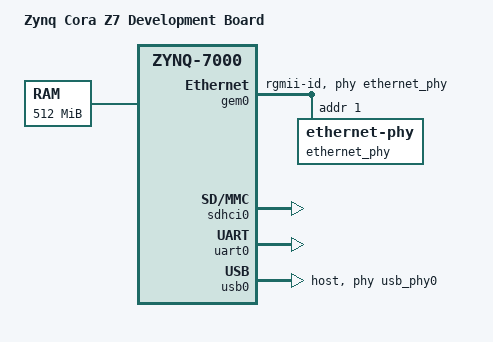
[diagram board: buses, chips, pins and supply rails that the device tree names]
/include/ "system-conf.dtsi"

/ {
   model = "Zynq Cora Z7 Development Board";
   compatible = "digilent,zynq-coraz7", "xlnx,zynq-7000";

   aliases {
      ethernet0 = &gem0;
      serial0 = &uart0;
      mmc0 = &sdhci0;
   };

   memory@0 {
      device_type = "memory";
      reg = <0x0 0x20000000>;
   };

   chosen {
      bootargs = "console=ttyPS0,115200 root=/dev/mmcblk0p2 rw rootwait earlyprintk uio_pdrv_genirq.of_id=generic-uio";
      stdout-path = "serial0:115200n8";
   };

   usb_phy0: phy0@e0002000 {
      compatible = "ulpi-phy";
      #phy-cells = <0>;
      reg = <0xe0002000 0x1000>;
      view-port = <0x0170>;
      drv-vbus;
   };
};

&clkc {
   ps-clk-frequency = <50000000>;
};

&gem0 {
   status = "okay";
   phy-mode = "rgmii-id";
   phy-handle = <&ethernet_phy>;

   ethernet_phy: ethernet-phy@0 { /* rtl8211e-vl */
      reg = <1>;
      device_type = "ethernet-phy";
   };
};

&sdhci0 {
   u-boot,dm-pre-reloc;
   status = "okay";
};

&uart0 {
   u-boot,dm-pre-reloc;
   status = "okay";
};

&uart1 {
   u-boot,dm-pre-reloc;
};

&usb0 {
   status = "okay";
   dr_mode = "host";
   usb-phy = <&usb_phy0>;
};

&amba_pl {
   axi_ctrl@43c10000 {
      compatible = "generic-uio";
   };
};

&amba_pl {
   axi_jtag@43c00000 {
      compatible = "generic-uio";
   };
};
